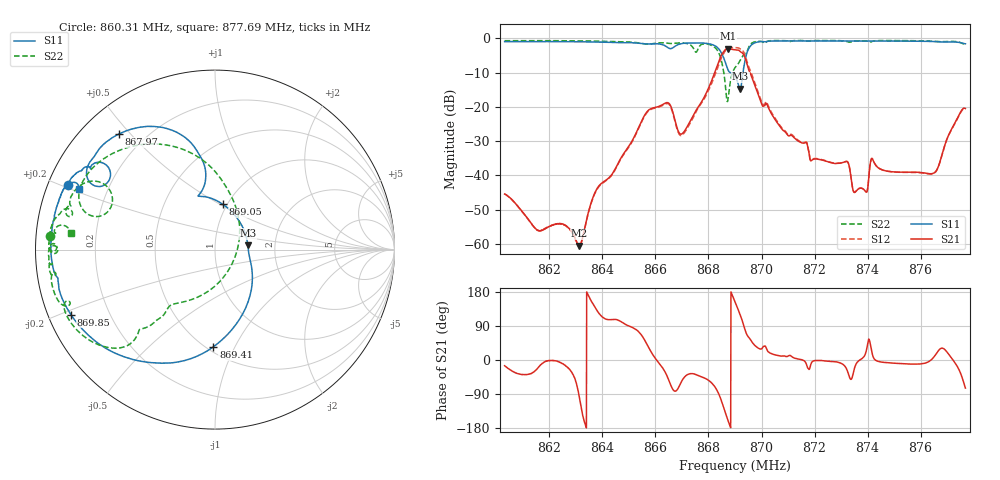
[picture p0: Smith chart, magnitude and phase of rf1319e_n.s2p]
!rf1319e,demo1,narrow,bn,01/18/07
# HZ S RI R 50
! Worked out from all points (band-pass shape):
!   1601 points, 860.31 MHz to 877.69 MHz, reference 50 ohm
!   highest |S21| = -3.02 dB at 868.74 MHz (marker M1); lowest = -60.5 dB at 863.13 MHz (marker M2)
!   |S21| within 3 dB of the highest: 868.4269 MHz to 869.3946 MHz (967.7 kHz wide, 0.111 % of centre)
!   lowest |S11| = -14.7 dB at 869.2 MHz (marker M3), VSWR 1.45, Z = 72.3 + j3.48 ohm
!   |S11| at or under -10 dB: 868.8162 MHz to 869.3017 MHz (485.5 kHz wide, 0.0559 % of centre)
!   |S22| runs from -18.5 to -0.6 dB; largest |S21 - S12| = 0.075
!   S11 on the Smith chart (normalised r, x): 860.31 MHz: 0.06, +0.21; 867.97 MHz: 0.11, +0.46; 869.05 MHz: 0.95, +0.52; 869.41 MHz: 0.54, -0.83; 869.85 MHz: 0.07, -0.21; 877.69 MHz: 0.10, +0.21
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8.6031e8  -0.8198 0.3595  0.00515 -0.00138  0.00488 -0.00222  -0.9188 0.0746
8.631342e8  -0.7889 0.4106  -0.000178 -0.000924  -0.000306 -0.000878  -0.9046 0.1436
8.632102e8  -0.7869 0.4123  -0.000704 -0.000818  -0.000809 -0.000679  -0.9041 0.1461
8.63786e8  -0.773 0.4253  -0.00415 0.0047  -0.00328 0.00522  -0.8943 0.1671
8.661105e8  -0.6767 0.4784  0.1001 -0.011  0.0951 -0.0245  -0.8313 0.204
8.669904e8  -0.7156 0.4337  0.0225 -0.0332  0.0168 -0.0343  -0.7989 0.302
8.67968e8  -0.5349 0.644  0.108 -0.1381  0.0844 -0.1396  -0.6885 0.4482
8.684025e8  -0.2152 0.6547  -0.0159 -0.4728  -0.0264 -0.4255  -0.1928 0.5636
8.687393e8  -0.069 0.335  -0.6654 -0.2372  -0.6685 -0.2666  0.0838 -0.1
8.690108e8  -0.00732 0.2804  -0.6043 0.3121  -0.6382 0.3537  -0.2258 -0.3017
8.690543e8  0.0425 0.2533  -0.5566 0.3872  -0.583 0.4379  -0.2459 -0.3091
8.691955e8  0.1829 0.0233  -0.3056 0.5641  -0.2963 0.6303  -0.2981 -0.3756
8.694127e8  -0.00925 -0.542  0.141 0.4529  0.1981 0.4777  -0.4225 -0.4493
8.698472e8  -0.8029 -0.3624  0.1371 0.0879  0.1596 0.0717  -0.8089 -0.3983
8.719002e8  -0.8949 0.1858  0.0165 -0.00164  0.0163 -0.00432  -0.9241 -0.0754
8.732146e8  -0.8731 0.2621  0.0145 -0.00664  0.0133 -0.0088  -0.8978 0.0223
8.735296e8  -0.8702 0.2741  0.00543 -0.00163  0.00514 -0.00248  -0.9126 -0.0151
8.739424e8  -0.8643 0.2893  0.00533 0.00211  0.00558 0.00126  -0.9167 0.0256
8.741814e8  -0.8614 0.2944  0.0167 0.00452  0.0173 0.0019  -0.9034 -0.0102
8.748005e8  -0.8544 0.315  0.0113 -0.00148  0.0109 -0.00324  -0.9252 0.036
8.765277e8  -0.8177 0.3622  0.0108 0.00194  0.0108 0.000284  -0.8983 0.0962
8.7769e8  -0.7592 0.3391  0.0259 -0.0906  0.0129 -0.092  -0.8037 0.0916
